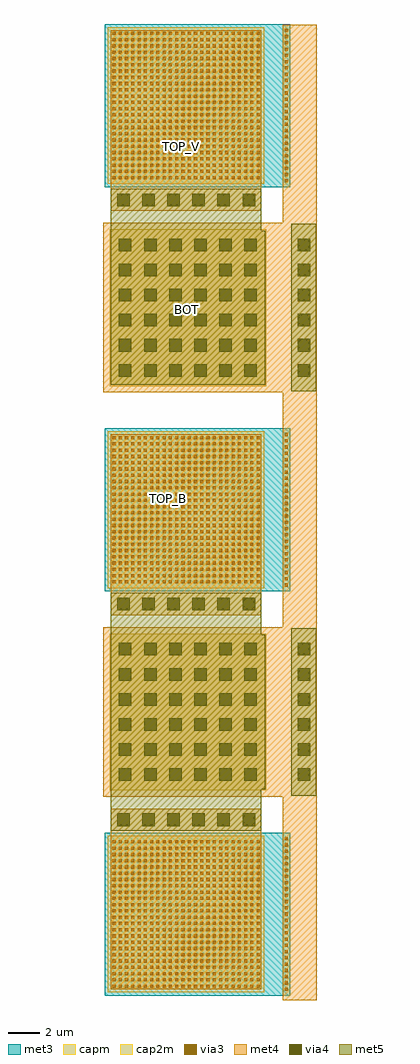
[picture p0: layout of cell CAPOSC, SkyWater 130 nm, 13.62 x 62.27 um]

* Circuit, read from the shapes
.subckt CAPOSC BOT TOP_B TOP_V
XC1 TOP_B BOT sky130_fd_pr__cap_mim_m3_1 w=10 l=10 m=2
XC2 TOP_V BOT sky130_fd_pr__cap_mim_m3_1 w=10 l=10
XC3 TOP_B BOT sky130_fd_pr__cap_mim_m3_2 w=10 l=10
XC4 TOP_V BOT sky130_fd_pr__cap_mim_m3_2 w=10 l=10
.ends

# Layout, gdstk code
from math import pi, radians
import gdstk
lib = gdstk.Library(unit=1e-6, precision=5e-09)
def R(c, l, rs):  # rectangles x0, y0, x1, y1
    for r in rs: c.add(gdstk.rectangle(r[:2], r[2:], *l))
def A(c, l, x, y, w, h, nx, ny, dx, dy):  # array of equal rectangles
    R(c, l, [(x+i*dx, y+j*dy, x+i*dx+w, y+j*dy+h) for i in range(nx) for j in range(ny)])
met3 = (70, 20)
via3 = (70, 44)
met4 = (71, 20)
via4 = (71, 44)
met5 = (72, 20)
capm = (89, 44)
cap2m = (97, 44)

mim_cap = lib.new_cell('mim_cap')
R(mim_cap, met4, [(-0.4,-0.4,13.22,10.4)])
A(mim_cap, via4, 0.6, 0.6, 0.8, 0.8, 6, 6, 1.6, 1.6)
A(mim_cap, via4, 12, 0.6, 0.8, 0.8, 1, 6, 0, 1.6)
R(mim_cap, met5, [(11.6,-0.34,13.2,10.34), (0.08,0.08,9.92,9.92)])
R(mim_cap, cap2m, [(0,0,10,10)])

mim_cap_1 = lib.new_cell('mim_cap$1')
R(mim_cap_1, met3, [(-0.2,-0.2,11.66,10.2)])
A(mim_cap_1, via3, 11.3, 0.1, 0.2, 0.2, 1, 25, 0, 0.4)
A(mim_cap_1, via3, 0.3, 0.3, 0.2, 0.2, 24, 24, 0.4, 0.4)
R(mim_cap_1, met4, [(11.16,-0.14,11.64,10.14), (0.195,0.195,9.805,9.805)])
R(mim_cap_1, capm, [(0,0,10,10)])

vias_gen_1 = lib.new_cell('vias_gen$1')
R(vias_gen_1, met4, [(0,0,9.61,1.42)])
A(vias_gen_1, via4, 0.405, 0.31, 0.8, 0.8, 6, 1, 1.6, 0)
R(vias_gen_1, met5, [(0,0,9.61,1.42)])

top_connector = lib.new_cell('top_connector')
R(top_connector, met4, [(2.515,5.325,12.125,5.825)])
R(top_connector, met5, [(2.515,2.655,12.125,3.905)])
top_connector.add(gdstk.Reference(vias_gen_1, (2.515,3.905)))

caposc = lib.new_cell('CAPOSC')
R(caposc, met4, [(13.48,-45.215,15.655,16.99)])
caposc.add(gdstk.Reference(mim_cap, (2.435,-6.045)))
caposc.add(gdstk.Reference(mim_cap, (2.435,-31.835)))
caposc.add(gdstk.Reference(mim_cap_1, (2.32,-18.94)))
caposc.add(gdstk.Reference(mim_cap_1, (2.32,-44.73)))
caposc.add(gdstk.Reference(top_connector, (0,-24.57)))
caposc.add(gdstk.Reference(top_connector, (14.64,-29.1), rotation=pi))
caposc.add(gdstk.Reference(mim_cap_1, (2.32,6.85)))
caposc.add(gdstk.Reference(top_connector, (0,1.22)))
caposc.add(gdstk.Label('BOT', (7.325,-1.16), layer=71, texttype=5))
caposc.add(gdstk.Label('TOP_V', (6.995,9.235), layer=71, texttype=5))
caposc.add(gdstk.Label('TOP_B', (6.185,-13.195), layer=71, texttype=5))

lib.write_gds('CAPOSC.gds')
